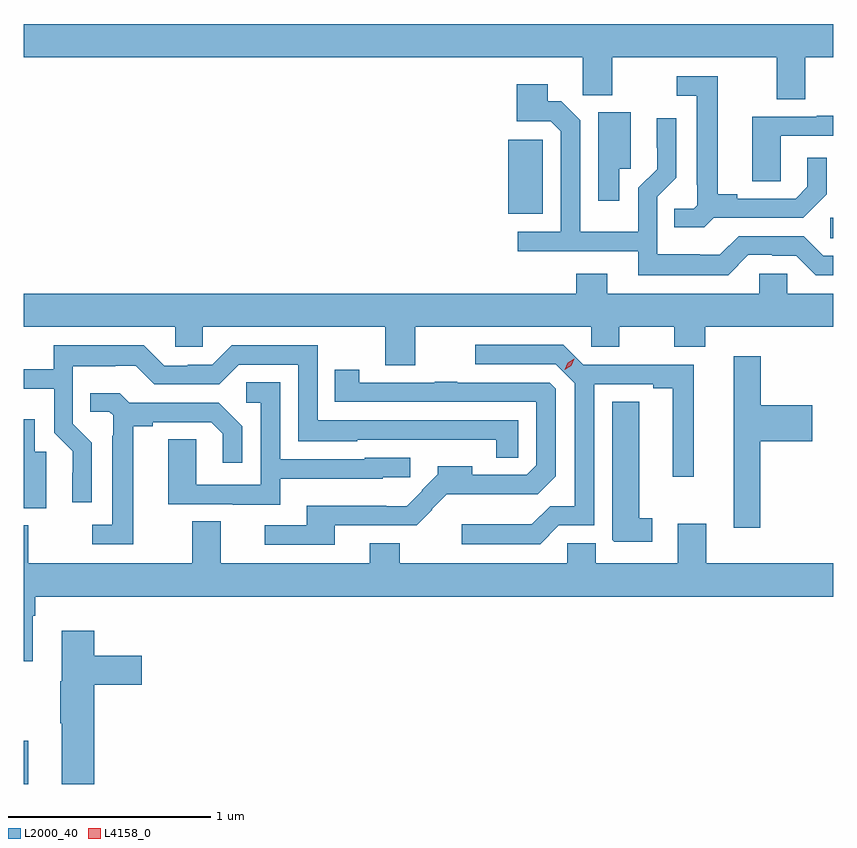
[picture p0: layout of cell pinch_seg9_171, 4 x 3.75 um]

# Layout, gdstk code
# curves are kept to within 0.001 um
import gdstk
lib = gdstk.Library(unit=1e-6, precision=1e-09)
def R(c, l, rs):  # rectangles x0, y0, x1, y1
    for r in rs: c.add(gdstk.rectangle(r[:2], r[2:], *l))
def P(c, l, *ps):  # polygons
    for p in ps: c.add(gdstk.Polygon(p, *l))
L2000_40 = (2000, 40)
L4158_0 = (4158, 0)

pinch_seg9_171 = lib.new_cell('pinch_seg9_171')
R(pinch_seg9_171, L2000_40, [(661.763,1204.818,661.786,1205.032), (665.748,1207.513,665.763,1207.614), (664.157,1207.634,664.327,1208.001)])
P(pinch_seg9_171, L2000_40, [(665.623,1208.408),(665.763,1208.408),(665.763,1208.572),(661.763,1208.572),(661.763,1208.408),(664.524,1208.408),(664.524,1208.221),(664.671,1208.221),(664.671,1208.408),(665.483,1208.408),(665.483,1208.2),(665.623,1208.2)],
  [(665.172,1207.614),(665.614,1207.614),(665.73,1207.73),(665.73,1207.912),(665.633,1207.912),(665.633,1207.767),(665.576,1207.71),(665.287,1207.71),(665.287,1207.73),(665.191,1207.73),(665.191,1208.313),(664.989,1208.313),(664.989,1208.217),(665.087,1208.217),(665.087,1207.777),(665.091,1207.777),(665.091,1207.677),(665.073,1207.659),(664.978,1207.659),(664.978,1207.567),(665.124,1207.567)],
  [(665.343,1207.431),(665.46,1207.431),(665.46,1207.428),(665.58,1207.428),(665.676,1207.332),(665.763,1207.332),(665.763,1207.428),(665.712,1207.428),(665.616,1207.524),(665.295,1207.524),(665.202,1207.431),(665.102,1207.431),(665.102,1207.435),(664.893,1207.435),(664.893,1207.719),(664.986,1207.812),(664.986,1208.107),(664.89,1208.107),(664.89,1207.96),(664.892,1207.96),(664.892,1207.854),(664.8,1207.762),(664.8,1207.546),(664.512,1207.546),(664.512,1208.097),(664.419,1208.19),(664.351,1208.19),(664.351,1208.275),(664.199,1208.275),(664.199,1208.091),(664.368,1208.091),(664.416,1208.043),(664.416,1207.545),(664.203,1207.545),(664.203,1207.449),(664.799,1207.449),(664.799,1207.331),(665.243,1207.331)],
  [(664.705,1207.857),(664.762,1207.857),(664.762,1208.136),(664.601,1208.136),(664.601,1207.698),(664.705,1207.698)],
  [(665.502,1208.019),(665.763,1208.019),(665.763,1208.119),(665.681,1208.119),(665.681,1208.115),(665.363,1208.115),(665.363,1207.795),(665.502,1207.795)],
  [(663.697,1207.076),(664.566,1207.076),(664.566,1206.978),(664.705,1206.978),(664.705,1207.076),(664.976,1207.076),(664.976,1206.977),(665.129,1206.977),(665.129,1207.076),(665.763,1207.076),(665.763,1207.24),(665.535,1207.24),(665.535,1207.338),(665.397,1207.338),(665.397,1207.24),(664.645,1207.24),(664.645,1207.339),(664.493,1207.339),(664.493,1207.24),(661.763,1207.24),(661.763,1207.076),(662.511,1207.076),(662.511,1206.978),(662.649,1206.978),(662.649,1207.076),(663.55,1207.076),(663.55,1206.886),(663.697,1206.886)],
  [(664.407,1206.096),(664.581,1206.096),(664.581,1206.792),(664.874,1206.792),(664.874,1206.772),(664.97,1206.772),(664.97,1206.336),(665.074,1206.336),(665.074,1206.888),(664.528,1206.888),(664.429,1206.987),(663.993,1206.987),(663.993,1206.891),(664.392,1206.891),(664.485,1206.798),(664.485,1206.191),(664.364,1206.191),(664.273,1206.1),(663.927,1206.1),(663.927,1206.003),(664.314,1206.003)],
  [(662.1,1206.504),(662.007,1206.597),(662.007,1206.881),(662.216,1206.881),(662.216,1206.885),(662.316,1206.885),(662.409,1206.792),(662.73,1206.792),(662.826,1206.888),(663.12,1206.888),(663.12,1206.512),(663.411,1206.512),(663.411,1206.519),(664.098,1206.518),(664.098,1206.43),(664.206,1206.43),(664.206,1206.615),(663.216,1206.615),(663.216,1206.984),(662.79,1206.984),(662.694,1206.888),(662.574,1206.888),(662.574,1206.885),(662.457,1206.885),(662.357,1206.985),(661.913,1206.985),(661.913,1206.867),(661.763,1206.867),(661.763,1206.77),(661.914,1206.77),(661.914,1206.554),(662.006,1206.462),(662.006,1206.356),(662.004,1206.356),(662.004,1206.21),(662.1,1206.21)],
  [(665.402,1206.512),(665.659,1206.512),(665.659,1206.69),(665.405,1206.69),(665.405,1206.931),(665.27,1206.931),(665.27,1206.084),(665.402,1206.084)],
  [(663.301,1206.096),(663.705,1206.096),(663.781,1206.173),(663.779,1206.175),(663.853,1206.249),(664.187,1206.248),(664.187,1206.25),(664.303,1206.25),(664.392,1206.339),(664.392,1206.771),(664.362,1206.801),(663.905,1206.801),(663.905,1206.806),(663.793,1206.806),(663.793,1206.801),(663.42,1206.801),(663.42,1206.865),(663.301,1206.865),(663.301,1206.705),(664.296,1206.705),(664.296,1206.393),(664.248,1206.345),(663.979,1206.345),(663.979,1206.388),(663.808,1206.388),(663.808,1206.349),(663.729,1206.27),(663.732,1206.267),(663.656,1206.191),(663.554,1206.191),(663.554,1206.193),(663.161,1206.193),(663.161,1206.096),(662.955,1206.096),(662.955,1206),(663.301,1206)],
  [(663.031,1206.326),(663.537,1206.326),(663.537,1206.333),(663.672,1206.333),(663.672,1206.429),(663.447,1206.429),(663.447,1206.423),(663.03,1206.423),(663.03,1206.803),(662.862,1206.803),(662.862,1206.702),(662.934,1206.702),(662.934,1206.297),(662.616,1206.297),(662.616,1206.521),(662.477,1206.521),(662.477,1206.201),(662.795,1206.201),(662.795,1206.197),(663.031,1206.197)],
  [(662.305,1206.586),(662.401,1206.586),(662.401,1206.606),(662.69,1206.606),(662.747,1206.549),(662.747,1206.405),(662.844,1206.405),(662.844,1206.586),(662.728,1206.702),(662.286,1206.702),(662.238,1206.749),(662.092,1206.749),(662.092,1206.657),(662.187,1206.657),(662.205,1206.639),(662.205,1206.539),(662.201,1206.539),(662.201,1206.099),(662.103,1206.099),(662.103,1206.003),(662.305,1206.003)],
  [(664.867,1206.131),(664.804,1206.131),(664.804,1206.707),(664.67,1206.707),(664.67,1206.025),(664.68,1206.015),(664.867,1206.015)],
  [(661.876,1206.459),(661.819,1206.459),(661.819,1206.619),(661.763,1206.619),(661.763,1206.181),(661.876,1206.181)],
  [(661.807,1205.648),(661.82,1205.648),(661.82,1205.744),(665.763,1205.744),(665.763,1205.908),(665.134,1205.908),(665.134,1206.103),(664.994,1206.103),(664.994,1205.908),(664.588,1205.908),(664.588,1206.006),(664.449,1206.006),(664.449,1205.908),(663.621,1205.908),(663.621,1206.007),(663.473,1206.007),(663.473,1205.908),(662.737,1205.908),(662.737,1206.116),(662.597,1206.116),(662.597,1205.908),(661.785,1205.908),(661.785,1206.096),(661.763,1206.096),(661.763,1205.424),(661.807,1205.424)],
  [(662.111,1205.309),(662.347,1205.309),(662.347,1205.451),(662.111,1205.451),(662.111,1205.575),(661.952,1205.575),(661.952,1205.325),(661.945,1205.325),(661.945,1205.119),(661.952,1205.119),(661.952,1204.818),(662.111,1204.818)])
P(pinch_seg9_171, L4158_0, [(664.435,1206.864),(664.435,1206.864),(664.452,1206.898),(664.483,1206.918),(664.483,1206.918),(664.483,1206.918),(664.467,1206.884),(664.435,1206.864)])

lib.write_gds('pinch_seg9_171.gds')
